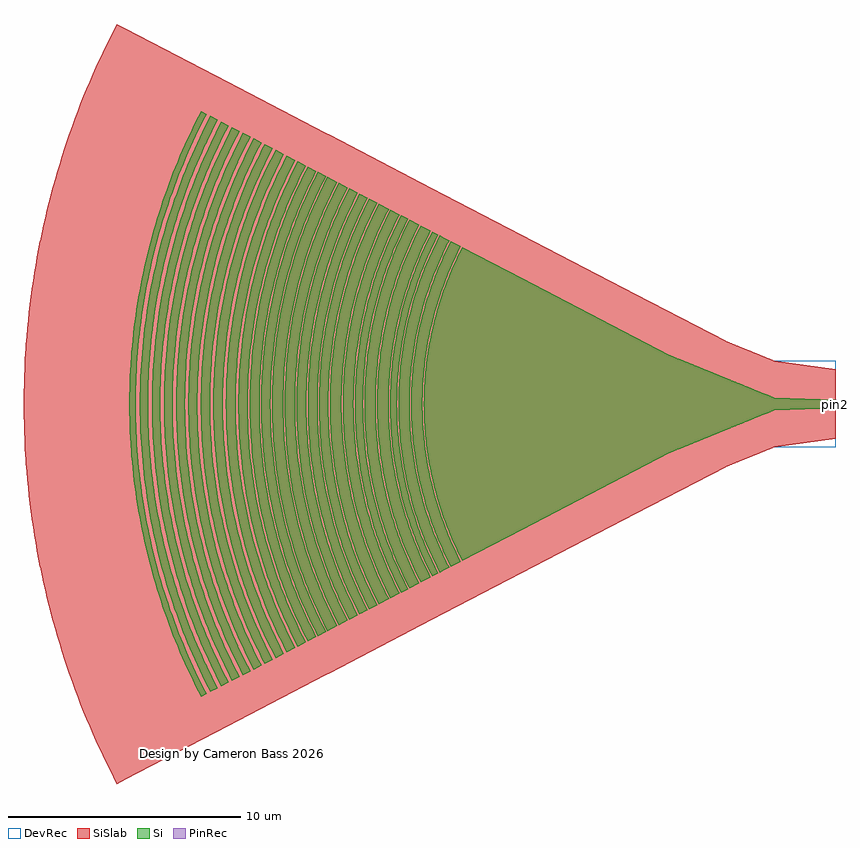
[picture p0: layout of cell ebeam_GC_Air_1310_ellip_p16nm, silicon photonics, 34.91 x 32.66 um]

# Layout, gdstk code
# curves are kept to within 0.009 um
import gdstk
lib = gdstk.Library(unit=1e-6, precision=1e-09)
def P(c, l, *ps):  # polygons
    for p in ps: c.add(gdstk.Polygon(p, *l))
Si = (1, 0)
PinRec = (1, 10)
SiSlab = (2, 0)
DevRec = (68, 0)

ebeam_gc_air_1310_ellip_ = lib.new_cell('ebeam_GC_Air_1310_ellip_p16nm')
P(ebeam_gc_air_1310_ellip_, Si, [(-16.055,-6.738),(-16.425,-5.976),(-16.799,-5.059),(-17.028,-4.389),(-17.294,-3.435),(-17.47,-2.604),(-17.597,-1.765),(-17.675,-0.919),(-17.703,-0.071),(-17.675,0.919),(-17.597,1.765),(-17.47,2.605),(-17.294,3.435),(-17.028,4.389),(-16.799,5.059),(-16.425,5.976),(-16.055,6.738),(-7.086,2.072),(-3.179,0.479),(-2.871,0.365),(-2.673,0.272),(0,0.175),(0,-0.175),(-2.672,-0.272),(-2.84,-0.352),(-3.194,-0.485),(-7.131,-2.091)],
  [(-16.547,-6.993),(-16.928,-6.206),(-17.265,-5.391),(-17.554,-4.558),(-17.795,-3.71),(-17.986,-2.849),(-18.126,-1.978),(-18.225,-0.955),(-18.255,-0.073),(-18.234,0.808),(-18.144,1.833),(-18.013,2.705),(-17.83,3.567),(-17.554,4.558),(-17.265,5.391),(-16.928,6.206),(-16.547,6.994),(-16.115,6.769),(-16.486,6.003),(-16.813,5.215),(-17.05,4.545),(-17.291,3.727),(-17.483,2.896),(-17.646,1.914),(-17.733,1.066),(-17.771,0.071),(-17.751,-0.782),(-17.664,-1.773),(-17.536,-2.616),(-17.359,-3.451),(-17.135,-4.274),(-16.863,-5.082),(-16.486,-6.003),(-16.115,-6.769)],
  [(-17.028,-7.244),(-17.422,-6.43),(-17.771,-5.586),(-18.07,-4.723),(-18.32,-3.844),(-18.517,-2.952),(-18.662,-2.05),(-18.755,-1.141),(-18.782,-0.685),(-18.796,-0.076),(-18.774,0.837),(-18.699,1.748),(-18.642,2.201),(-18.545,2.802),(-18.356,3.696),(-18.07,4.723),(-17.771,5.586),(-17.422,6.43),(-17.028,7.244),(-16.606,7.025),(-16.989,6.233),(-17.328,5.415),(-17.619,4.579),(-17.861,3.727),(-18.079,2.717),(-18.212,1.841),(-18.293,0.959),(-18.323,0.074),(-18.302,-0.811),(-18.212,-1.841),(-18.079,-2.717),(-17.896,-3.583),(-17.663,-4.437),(-17.38,-5.277),(-17.049,-6.099),(-16.867,-6.502),(-16.606,-7.025)],
  [(-17.348,-7.411),(-17.751,-6.578),(-18.108,-5.715),(-18.414,-4.832),(-18.67,-3.933),(-18.872,-3.02),(-18.953,-2.56),(-19.04,-1.943),(-19.126,-1.012),(-19.157,-0.078),(-19.135,0.857),(-19.04,1.943),(-18.9,2.867),(-18.707,3.782),(-18.46,4.683),(-18.163,5.569),(-17.995,6.005),(-17.751,6.579),(-17.348,7.411),(-17.089,7.275),(-17.545,6.318),(-17.94,5.324),(-18.089,4.889),(-18.267,4.304),(-18.386,3.861),(-18.523,3.265),(-18.687,2.362),(-18.783,1.603),(-18.842,0.841),(-18.864,0.077),(-18.849,-0.688),(-18.798,-1.45),(-18.709,-2.211),(-18.554,-3.115),(-18.308,-4.156),(-18.181,-4.597),(-17.991,-5.179),(-17.779,-5.752),(-17.545,-6.318),(-17.089,-7.275)],
  [(-17.844,-7.669),(-18.26,-6.808),(-18.512,-6.215),(-18.686,-5.764),(-18.994,-4.847),(-19.249,-3.914),(-19.449,-2.967),(-19.593,-2.011),(-19.682,-1.047),(-19.715,-0.08),(-19.691,0.887),(-19.612,1.851),(-19.477,2.809),(-19.356,3.442),(-19.249,3.914),(-18.994,4.847),(-18.686,5.764),(-18.512,6.215),(-18.26,6.809),(-17.844,7.669),(-17.408,7.442),(-17.812,6.606),(-18.171,5.739),(-18.48,4.852),(-18.736,3.95),(-18.967,2.879),(-19.107,1.951),(-19.171,1.329),(-19.203,0.86),(-19.225,0.078),(-19.203,-0.86),(-19.171,-1.329),(-19.107,-1.951),(-18.967,-2.879),(-18.736,-3.949),(-18.48,-4.852),(-18.171,-5.739),(-17.812,-6.606),(-17.408,-7.442)],
  [(-18.324,-7.919),(-18.754,-7.03),(-19.014,-6.417),(-19.193,-5.952),(-19.512,-5.005),(-19.775,-4.041),(-19.981,-3.064),(-20.131,-2.076),(-20.222,-1.082),(-20.256,-0.083),(-20.232,0.916),(-20.15,1.911),(-20.038,2.736),(-19.951,3.228),(-19.814,3.88),(-19.512,5.005),(-19.193,5.951),(-19.014,6.417),(-18.754,7.031),(-18.324,7.919),(-17.906,7.701),(-18.118,7.277),(-18.388,6.689),(-18.751,5.787),(-19.061,4.867),(-19.316,3.93),(-19.517,2.979),(-19.662,2.019),(-19.752,1.052),(-19.785,0.081),(-19.761,-0.89),(-19.681,-1.858),(-19.597,-2.501),(-19.517,-2.979),(-19.316,-3.929),(-19.061,-4.866),(-18.751,-5.787),(-18.388,-6.689),(-18.118,-7.277),(-17.906,-7.701)],
  [(-18.686,-8.107),(-19.126,-7.197),(-19.517,-6.252),(-19.852,-5.286),(-20.044,-4.632),(-20.172,-4.137),(-20.383,-3.137),(-20.536,-2.125),(-20.63,-1.107),(-20.664,-0.085),(-20.64,0.937),(-20.556,1.957),(-20.413,2.969),(-20.285,3.638),(-20.172,4.137),(-20.044,4.632),(-19.852,5.286),(-19.517,6.252),(-19.126,7.197),(-18.686,8.107),(-18.384,7.951),(-18.677,7.362),(-18.95,6.752),(-19.139,6.288),(-19.371,5.661),(-19.529,5.184),(-19.717,4.543),(-19.88,3.894),(-19.986,3.405),(-20.131,2.582),(-20.236,1.752),(-20.301,0.919),(-20.325,0.084),(-20.301,-0.919),(-20.236,-1.752),(-20.131,-2.582),(-19.986,-3.405),(-19.88,-3.894),(-19.717,-4.543),(-19.529,-5.184),(-19.371,-5.661),(-18.95,-6.752),(-18.677,-7.362),(-18.384,-7.95)],
  [(-19.144,-8.346),(-19.597,-7.41),(-19.872,-6.763),(-20.061,-6.273),(-20.396,-5.275),(-20.674,-4.259),(-20.891,-3.229),(-21.049,-2.188),(-21.145,-1.14),(-21.181,-0.088),(-21.171,0.615),(-21.145,1.14),(-21.049,2.188),(-20.891,3.229),(-20.674,4.259),(-20.396,5.275),(-20.061,6.273),(-19.668,7.249),(-19.45,7.728),(-19.144,8.346),(-18.747,8.139),(-19.047,7.536),(-19.258,7.069),(-19.641,6.116),(-19.969,5.143),(-20.239,4.153),(-20.451,3.149),(-20.605,2.134),(-20.699,1.112),(-20.734,0.086),(-20.709,-0.941),(-20.625,-1.964),(-20.481,-2.98),(-20.387,-3.485),(-20.239,-4.153),(-19.969,-5.143),(-19.641,-6.116),(-19.258,-7.069),(-19.047,-7.536),(-18.747,-8.139)],
  [(-19.643,-8.606),(-20.108,-7.643),(-20.523,-6.64),(-20.878,-5.614),(-21.175,-4.569),(-21.409,-3.509),(-21.582,-2.437),(-21.692,-1.356),(-21.723,-0.815),(-21.741,-0.09),(-21.715,0.995),(-21.625,2.078),(-21.474,3.153),(-21.338,3.863),(-21.218,4.394),(-20.932,5.441),(-20.708,6.129),(-20.523,6.64),(-20.108,7.643),(-19.643,8.606),(-19.206,8.378),(-19.659,7.437),(-20.064,6.461),(-20.244,5.965),(-20.463,5.295),(-20.699,4.446),(-20.926,3.415),(-21.095,2.372),(-21.173,1.671),(-21.214,1.144),(-21.25,0.088),(-21.245,-0.44),(-21.214,-1.144),(-21.117,-2.196),(-20.959,-3.241),(-20.857,-3.76),(-20.699,-4.446),(-20.41,-5.463),(-20.064,-6.461),(-19.659,-7.437),(-19.206,-8.378)],
  [(-20.058,-8.822),(-20.536,-7.833),(-20.961,-6.805),(-21.326,-5.753),(-21.63,-4.682),(-21.87,-3.596),(-22.047,-2.497),(-22.16,-1.39),(-22.192,-0.835),(-22.21,-0.093),(-22.183,1.02),(-22.092,2.129),(-22.022,2.681),(-21.904,3.414),(-21.674,4.503),(-21.485,5.22),(-21.326,5.753),(-20.961,6.805),(-20.536,7.832),(-20.058,8.822),(-19.707,8.639),(-20.174,7.671),(-20.591,6.664),(-20.949,5.635),(-21.245,4.586),(-21.481,3.522),(-21.603,2.806),(-21.677,2.266),(-21.777,1.18),(-21.814,0.091),(-21.788,-0.999),(-21.751,-1.543),(-21.677,-2.265),(-21.514,-3.343),(-21.288,-4.409),(-21.154,-4.938),(-21.002,-5.461),(-20.655,-6.494),(-20.248,-7.505),(-19.945,-8.165),(-19.707,-8.639)],
  [(-20.478,-9.041),(-20.969,-8.026),(-21.405,-6.972),(-21.778,-5.895),(-22.09,-4.798),(-22.221,-4.243),(-22.371,-3.498),(-22.541,-2.37),(-22.646,-1.235),(-22.685,-0.095),(-22.657,1.045),(-22.563,2.182),(-22.404,3.311),(-22.3,3.871),(-22.135,4.614),(-21.942,5.348),(-21.778,5.895),(-21.405,6.972),(-20.969,8.025),(-20.478,9.041),(-20.12,8.854),(-20.523,8.03),(-20.748,7.52),(-21.026,6.829),(-21.392,5.774),(-21.602,5.06),(-21.741,4.518),(-21.972,3.426),(-22.139,2.322),(-22.241,1.209),(-22.279,0.093),(-22.252,-1.023),(-22.198,-1.766),(-22.139,-2.321),(-21.972,-3.426),(-21.741,-4.518),(-21.447,-5.596),(-21.091,-6.655),(-20.82,-7.348),(-20.599,-7.861),(-20.12,-8.854)],
  [(-20.913,-9.267),(-21.417,-8.224),(-21.863,-7.145),(-22.246,-6.041),(-22.566,-4.917),(-22.7,-4.347),(-22.854,-3.584),(-23.029,-2.429),(-23.136,-1.265),(-23.175,-0.097),(-23.17,0.487),(-23.136,1.265),(-23.029,2.429),(-22.854,3.585),(-22.612,4.728),(-22.304,5.855),(-21.932,6.963),(-21.722,7.507),(-21.417,8.225),(-20.913,9.267),(-20.544,9.074),(-21.036,8.053),(-21.474,6.996),(-21.85,5.915),(-22.162,4.815),(-22.333,4.072),(-22.444,3.51),(-22.615,2.379),(-22.72,1.239),(-22.759,0.096),(-22.748,-0.667),(-22.72,-1.239),(-22.615,-2.378),(-22.444,-3.51),(-22.207,-4.629),(-21.906,-5.733),(-21.541,-6.818),(-21.113,-7.879),(-20.878,-8.4),(-20.544,-9.074)],
  [(-21.364,-9.502),(-21.88,-8.434),(-22.193,-7.698),(-22.408,-7.14),(-22.79,-6.004),(-23.106,-4.848),(-23.354,-3.676),(-23.533,-2.491),(-23.643,-1.297),(-23.672,-0.699),(-23.683,-0.1),(-23.678,0.499),(-23.643,1.298),(-23.533,2.491),(-23.354,3.676),(-23.106,4.848),(-22.956,5.428),(-22.731,6.195),(-22.338,7.327),(-21.88,8.434),(-21.364,9.502),(-20.974,9.298),(-21.479,8.252),(-21.928,7.169),(-22.313,6.061),(-22.481,5.5),(-22.678,4.743),(-22.921,3.596),(-23.097,2.437),(-23.204,1.27),(-23.244,0.098),(-23.239,-0.489),(-23.216,-1.074),(-23.176,-1.66),(-23.097,-2.437),(-22.921,-3.596),(-22.678,-4.743),(-22.481,-5.5),(-22.313,-6.061),(-21.928,-7.168),(-21.479,-8.252),(-20.974,-9.298)],
  [(-21.852,-9.755),(-22.38,-8.661),(-22.624,-8.096),(-22.85,-7.524),(-23.254,-6.362),(-23.59,-5.178),(-23.775,-4.378),(-23.893,-3.775),(-24.077,-2.558),(-24.19,-1.332),(-24.22,-0.718),(-24.231,-0.102),(-24.202,1.128),(-24.101,2.355),(-23.994,3.167),(-23.893,3.775),(-23.775,4.378),(-23.639,4.979),(-23.314,6.166),(-23.127,6.752),(-22.922,7.333),(-22.624,8.096),(-22.38,8.661),(-21.852,9.756),(-21.424,9.533),(-21.689,9.007),(-21.942,8.461),(-22.402,7.351),(-22.608,6.786),(-22.797,6.215),(-23.125,5.059),(-23.384,3.885),(-23.576,2.698),(-23.698,1.502),(-23.733,0.901),(-23.752,0.1),(-23.723,-1.102),(-23.665,-1.901),(-23.601,-2.499),(-23.421,-3.688),(-23.263,-4.473),(-23.125,-5.059),(-22.797,-6.215),(-22.608,-6.786),(-22.402,-7.351),(-21.942,-8.462),(-21.689,-9.007),(-21.424,-9.533)],
  [(-22.266,-9.971),(-22.806,-8.852),(-23.055,-8.274),(-23.287,-7.69),(-23.569,-6.9),(-23.761,-6.302),(-24.093,-5.089),(-24.352,-3.858),(-24.455,-3.237),(-24.54,-2.614),(-24.607,-1.989),(-24.656,-1.362),(-24.686,-0.734),(-24.698,-0.105),(-24.668,1.153),(-24.565,2.406),(-24.486,3.03),(-24.389,3.652),(-24.274,4.27),(-24.093,5.089),(-23.761,6.302),(-23.569,6.901),(-23.287,7.69),(-23.055,8.275),(-22.806,8.852),(-22.266,9.971),(-21.913,9.787),(-22.271,9.063),(-22.525,8.502),(-22.84,7.741),(-23.057,7.163),(-23.257,6.579),(-23.496,5.792),(-23.656,5.195),(-23.841,4.393),(-23.96,3.787),(-24.061,3.178),(-24.19,2.157),(-24.27,1.131),(-24.3,0.103),(-24.28,-0.925),(-24.21,-1.953),(-24.091,-2.975),(-23.882,-4.191),(-23.752,-4.794),(-23.551,-5.593),(-23.38,-6.185),(-23.125,-6.969),(-22.84,-7.74),(-22.607,-8.312),(-22.271,-9.063),(-21.913,-9.787)],
  [(-22.7,-10.197),(-23.254,-9.051),(-23.509,-8.46),(-23.746,-7.863),(-24.167,-6.648),(-24.409,-5.825),(-24.57,-5.203),(-24.712,-4.575),(-24.835,-3.945),(-24.941,-3.31),(-25.028,-2.673),(-25.096,-2.034),(-25.146,-1.392),(-25.177,-0.751),(-25.189,-0.107),(-25.183,0.536),(-25.158,1.179),(-25.115,1.82),(-25.053,2.46),(-24.972,3.098),(-24.873,3.734),(-24.712,4.575),(-24.57,5.203),(-24.409,5.825),(-24.23,6.444),(-23.821,7.663),(-23.59,8.262),(-23.341,8.855),(-22.982,9.634),(-22.7,10.197),(-22.33,10.004),(-22.697,9.263),(-22.957,8.689),(-23.279,7.911),(-23.5,7.321),(-23.769,6.523),(-23.949,5.919),(-24.113,5.309),(-24.302,4.49),(-24.494,3.456),(-24.637,2.414),(-24.728,1.366),(-24.759,0.736),(-24.771,0.105),(-24.751,-0.946),(-24.714,-1.576),(-24.659,-2.204),(-24.527,-3.247),(-24.344,-4.284),(-24.211,-4.9),(-24.006,-5.716),(-23.769,-6.523),(-23.5,-7.321),(-23.279,-7.911),(-22.957,-8.689),(-22.697,-9.263),(-22.33,-10.004)],
  [(-23.132,-10.422),(-23.701,-9.246),(-23.961,-8.642),(-24.204,-8.032),(-24.635,-6.791),(-24.994,-5.527),(-25.145,-4.889),(-25.278,-4.245),(-25.392,-3.598),(-25.487,-2.948),(-25.563,-2.296),(-25.635,-1.422),(-25.667,-0.767),(-25.679,-0.109),(-25.673,0.547),(-25.648,1.204),(-25.603,1.859),(-25.54,2.513),(-25.457,3.165),(-25.318,4.03),(-25.191,4.674),(-25.046,5.315),(-24.699,6.582),(-24.499,7.208),(-24.281,7.828),(-24.044,8.44),(-23.701,9.246),(-23.132,10.422),(-22.778,10.238),(-23.155,9.475),(-23.507,8.691),(-23.751,8.093),(-23.977,7.489),(-24.252,6.673),(-24.437,6.055),(-24.604,5.431),(-24.798,4.593),(-24.995,3.535),(-25.088,2.897),(-25.163,2.255),(-25.246,1.183),(-25.278,0.108),(-25.257,-0.968),(-25.219,-1.612),(-25.163,-2.255),(-25.088,-2.896),(-24.995,-3.535),(-24.798,-4.593),(-24.604,-5.431),(-24.437,-6.055),(-24.252,-6.673),(-23.977,-7.489),(-23.751,-8.093),(-23.421,-8.888),(-23.155,-9.475),(-22.778,-10.237)],
  [(-23.601,-10.667),(-24.187,-9.458),(-24.453,-8.84),(-24.701,-8.216),(-24.931,-7.584),(-25.142,-6.947),(-25.335,-6.302),(-25.51,-5.654),(-25.665,-4.999),(-25.841,-4.122),(-25.952,-3.458),(-26.043,-2.793),(-26.114,-2.125),(-26.166,-1.455),(-26.199,-0.784),(-26.212,-0.112),(-26.205,0.56),(-26.179,1.232),(-26.134,1.902),(-26.069,2.571),(-25.984,3.237),(-25.88,3.902),(-25.712,4.781),(-25.563,5.437),(-25.395,6.087),(-25.208,6.733),(-25.003,7.373),(-24.78,8.007),(-24.538,8.633),(-24.278,9.252),(-23.999,9.865),(-23.601,10.667),(-23.236,10.476),(-23.625,9.691),(-23.897,9.091),(-24.153,8.482),(-24.466,7.66),(-24.68,7.035),(-24.937,6.193),(-25.108,5.555),(-25.306,4.698),(-25.508,3.615),(-25.657,2.525),(-25.72,1.869),(-25.765,1.21),(-25.797,0.11),(-25.776,-0.99),(-25.738,-1.649),(-25.68,-2.306),(-25.542,-3.399),(-25.306,-4.698),(-25.16,-5.341),(-24.937,-6.193),(-24.68,-7.034),(-24.466,-7.659),(-24.153,-8.482),(-23.897,-9.091),(-23.625,-9.691),(-23.236,-10.476)],
  [(-24.084,-10.918),(-24.395,-10.298),(-24.686,-9.675),(-24.959,-9.043),(-25.213,-8.405),(-25.448,-7.759),(-25.732,-6.888),(-25.923,-6.227),(-26.095,-5.562),(-26.247,-4.891),(-26.38,-4.217),(-26.493,-3.538),(-26.586,-2.857),(-26.659,-2.174),(-26.712,-1.488),(-26.746,-0.802),(-26.759,-0.114),(-26.752,0.573),(-26.726,1.26),(-26.679,1.945),(-26.586,2.858),(-26.493,3.538),(-26.38,4.217),(-26.247,4.891),(-26.095,5.562),(-25.923,6.227),(-25.732,6.888),(-25.448,7.759),(-25.213,8.405),(-24.959,9.044),(-24.686,9.675),(-24.395,10.298),(-24.084,10.918),(-23.723,10.73),(-24.028,10.124),(-24.404,9.306),(-24.75,8.473),(-24.987,7.841),(-25.275,6.986),(-25.469,6.339),(-25.698,5.467),(-25.847,4.809),(-26.054,3.701),(-26.207,2.585),(-26.305,1.463),(-26.338,0.788),(-26.351,0.113),(-26.329,-1.013),(-26.289,-1.688),(-26.231,-2.361),(-26.089,-3.479),(-25.893,-4.588),(-25.75,-5.248),(-25.53,-6.122),(-25.275,-6.986),(-24.987,-7.841),(-24.75,-8.473),(-24.404,-9.306),(-24.028,-10.124),(-23.723,-10.73)],
  [(-24.554,-11.163),(-24.874,-10.526),(-25.172,-9.889),(-25.451,-9.243),(-25.71,-8.591),(-25.951,-7.93),(-26.172,-7.264),(-26.436,-6.365),(-26.613,-5.685),(-26.768,-4.999),(-26.904,-4.31),(-27.019,-3.616),(-27.114,-2.921),(-27.189,-2.222),(-27.244,-1.521),(-27.278,-0.82),(-27.291,-0.117),(-27.278,0.82),(-27.244,1.522),(-27.189,2.222),(-27.114,2.921),(-27.019,3.616),(-26.904,4.31),(-26.768,4.999),(-26.613,5.685),(-26.436,6.365),(-26.172,7.264),(-25.951,7.93),(-25.71,8.591),(-25.451,9.244),(-25.172,9.888),(-24.874,10.526),(-24.554,11.163),(-24.204,10.981),(-24.619,10.148),(-24.905,9.518),(-25.173,8.881),(-25.501,8.02),(-25.796,7.146),(-25.994,6.485),(-26.174,5.816),(-26.381,4.919),(-26.593,3.786),(-26.749,2.644),(-26.85,1.497),(-26.883,0.806),(-26.896,0.115),(-26.874,-1.036),(-26.796,-2.185),(-26.662,-3.331),(-26.555,-4.013),(-26.428,-4.693),(-26.228,-5.592),(-26.056,-6.262),(-25.796,-7.146),(-25.578,-7.803),(-25.258,-8.667),(-24.905,-9.518),(-24.619,-10.148),(-24.204,-10.981)],
  [(-25.027,-11.409),(-25.355,-10.756),(-25.66,-10.106),(-25.944,-9.446),(-26.21,-8.779),(-26.455,-8.104),(-26.681,-7.423),(-26.888,-6.734),(-27.075,-6.041),(-27.24,-5.343),(-27.386,-4.639),(-27.51,-3.933),(-27.615,-3.222),(-27.698,-2.509),(-27.761,-1.793),(-27.812,-0.838),(-27.826,-0.12),(-27.819,0.598),(-27.791,1.316),(-27.742,2.032),(-27.673,2.747),(-27.582,3.459),(-27.43,4.404),(-27.291,5.109),(-27.132,5.809),(-26.952,6.504),(-26.752,7.195),(-26.533,7.878),(-26.21,8.779),(-25.944,9.446),(-25.66,10.106),(-25.355,10.756),(-25.027,11.409),(-24.684,11.231),(-25.008,10.589),(-25.402,9.733),(-25.676,9.081),(-26.012,8.201),(-26.241,7.532),(-26.516,6.631),(-26.7,5.947),(-26.912,5.03),(-27.128,3.871),(-27.288,2.704),(-27.357,2.001),(-27.405,1.295),(-27.439,0.118),(-27.432,-0.589),(-27.405,-1.295),(-27.313,-2.469),(-27.165,-3.638),(-27.049,-4.336),(-26.912,-5.03),(-26.7,-5.947),(-26.516,-6.63),(-26.241,-7.532),(-26.012,-8.2),(-25.676,-9.081),(-25.402,-9.733),(-25.008,-10.589),(-24.684,-11.23)],
  [(-25.489,-11.649),(-25.824,-10.982),(-26.135,-10.318),(-26.425,-9.644),(-26.696,-8.963),(-26.947,-8.274),(-27.178,-7.579),(-27.389,-6.876),(-27.58,-6.168),(-27.801,-5.216),(-27.942,-4.497),(-28.063,-3.773),(-28.162,-3.047),(-28.24,-2.318),(-28.297,-1.587),(-28.332,-0.856),(-28.347,-0.122),(-28.332,0.855),(-28.297,1.587),(-28.24,2.318),(-28.162,3.047),(-28.063,3.773),(-27.942,4.497),(-27.801,5.216),(-27.638,5.931),(-27.454,6.641),(-27.251,7.345),(-27.027,8.043),(-26.696,8.964),(-26.425,9.644),(-26.135,10.317),(-25.824,10.982),(-25.489,11.649),(-25.158,11.477),(-25.594,10.603),(-25.892,9.945),(-26.262,9.056),(-26.516,8.38),(-26.824,7.467),(-27.031,6.776),(-27.219,6.077),(-27.436,5.14),(-27.657,3.956),(-27.762,3.241),(-27.846,2.524),(-27.939,1.324),(-27.974,0.121),(-27.951,-1.083),(-27.909,-1.804),(-27.846,-2.523),(-27.762,-3.241),(-27.657,-3.955),(-27.436,-5.139),(-27.276,-5.843),(-27.031,-6.775),(-26.824,-7.467),(-26.516,-8.379),(-26.262,-9.056),(-25.892,-9.946),(-25.594,-10.603),(-25.158,-11.477)],
  [(-25.954,-11.891),(-26.296,-11.21),(-26.614,-10.532),(-26.91,-9.845),(-27.187,-9.15),(-27.443,-8.446),(-27.679,-7.736),(-27.894,-7.019),(-28.089,-6.296),(-28.261,-5.569),(-28.459,-4.59),(-28.581,-3.851),(-28.683,-3.11),(-28.763,-2.366),(-28.821,-1.62),(-28.857,-0.873),(-28.871,-0.125),(-28.857,0.873),(-28.821,1.62),(-28.763,2.366),(-28.683,3.111),(-28.581,3.852),(-28.459,4.59),(-28.314,5.324),(-28.148,6.054),(-27.961,6.779),(-27.753,7.498),(-27.524,8.21),(-27.275,8.916),(-27.005,9.614),(-26.614,10.532),(-26.296,11.21),(-25.954,11.892),(-25.628,11.722),(-25.967,11.051),(-26.378,10.158),(-26.664,9.477),(-27.015,8.558),(-27.254,7.86),(-27.542,6.92),(-27.733,6.207),(-27.955,5.249),(-28.18,4.04),(-28.347,2.822),(-28.419,2.088),(-28.469,1.352),(-28.505,0.123),(-28.497,-0.615),(-28.469,-1.352),(-28.373,-2.577),(-28.287,-3.31),(-28.18,-4.04),(-27.955,-5.249),(-27.733,-6.206),(-27.542,-6.919),(-27.254,-7.86),(-27.015,-8.558),(-26.664,-9.477),(-26.378,-10.157),(-25.967,-11.05),(-25.628,-11.722)],
  [(-26.413,-12.13),(-26.762,-11.435),(-27.086,-10.744),(-27.485,-9.807),(-27.76,-9.095),(-28.014,-8.375),(-28.248,-7.648),(-28.46,-6.915),(-28.651,-6.176),(-28.82,-5.431),(-28.968,-4.682),(-29.093,-3.929),(-29.196,-3.173),(-29.278,-2.413),(-29.337,-1.653),(-29.374,-0.891),(-29.389,-0.127),(-29.381,0.636),(-29.352,1.399),(-29.3,2.16),(-29.226,2.921),(-29.13,3.677),(-28.968,4.682),(-28.82,5.431),(-28.651,6.176),(-28.46,6.915),(-28.248,7.649),(-28.014,8.375),(-27.76,9.095),(-27.485,9.807),(-27.086,10.744),(-26.762,11.435),(-26.413,12.13),(-26.097,11.966),(-26.552,11.054),(-26.863,10.369),(-27.248,9.441),(-27.513,8.737),(-27.757,8.024),(-28.051,7.064),(-28.246,6.336),(-28.419,5.603),(-28.572,4.866),(-28.703,4.124),(-28.873,2.881),(-28.983,1.631),(-29.019,0.878),(-29.034,0.126),(-29.026,-0.628),(-28.997,-1.38),(-28.9,-2.631),(-28.742,-3.876),(-28.618,-4.619),(-28.472,-5.358),(-28.246,-6.336),(-28.051,-7.063),(-27.834,-7.784),(-27.513,-8.736),(-27.248,-9.441),(-26.863,-10.369),(-26.552,-11.054),(-26.097,-11.966)],
  [(-26.883,-12.375),(-27.231,-11.68),(-27.562,-10.974),(-27.871,-10.258),(-28.25,-9.29),(-28.509,-8.555),(-28.747,-7.813),(-28.963,-7.063),(-29.159,-6.308),(-29.331,-5.547),(-29.481,-4.783),(-29.609,-4.013),(-29.715,-3.241),(-29.797,-2.466),(-29.858,-1.688),(-29.896,-0.91),(-29.911,-0.13),(-29.896,0.91),(-29.858,1.688),(-29.797,2.465),(-29.715,3.241),(-29.609,4.013),(-29.481,4.783),(-29.331,5.548),(-29.159,6.308),(-28.963,7.063),(-28.747,7.813),(-28.509,8.555),(-28.25,9.291),(-27.871,10.258),(-27.562,10.974),(-27.231,11.681),(-26.883,12.376),(-26.564,12.21),(-27.028,11.279),(-27.346,10.58),(-27.739,9.633),(-28.009,8.914),(-28.337,7.943),(-28.557,7.207),(-28.757,6.465),(-28.988,5.467),(-29.223,4.208),(-29.397,2.939),(-29.471,2.175),(-29.523,1.408),(-29.561,0.128),(-29.536,-1.152),(-29.491,-1.919),(-29.424,-2.684),(-29.263,-3.955),(-29.136,-4.713),(-28.988,-5.467),(-28.757,-6.464),(-28.557,-7.207),(-28.337,-7.943),(-28.009,-8.914),(-27.739,-9.633),(-27.346,-10.58),(-27.028,-11.279),(-26.564,-12.209)],
  [(-27.281,-12.583),(-27.643,-11.86),(-27.979,-11.143),(-28.292,-10.416),(-28.584,-9.68),(-28.841,-8.977),(-29.104,-8.185),(-29.331,-7.426),(-29.537,-6.662),(-29.719,-5.892),(-29.879,-5.116),(-30.017,-4.336),(-30.132,-3.553),(-30.249,-2.503),(-30.305,-1.795),(-30.349,-0.924),(-30.364,-0.132),(-30.356,0.659),(-30.326,1.451),(-30.272,2.241),(-30.165,3.291),(-30.058,4.075),(-29.928,4.857),(-29.775,5.633),(-29.6,6.406),(-29.402,7.172),(-29.182,7.933),(-28.941,8.687),(-28.677,9.434),(-28.392,10.172),(-27.979,11.144),(-27.643,11.861),(-27.281,12.583),(-27.043,12.459),(-27.508,11.523),(-27.832,10.809),(-28.233,9.842),(-28.509,9.107),(-28.843,8.115),(-29.069,7.363),(-29.272,6.605),(-29.452,5.841),(-29.611,5.072),(-29.747,4.299),(-29.924,3.003),(-30.039,1.7),(-30.077,0.915),(-30.092,0.131),(-30.067,-1.177),(-30.021,-1.961),(-29.952,-2.742),(-29.861,-3.522),(-29.747,-4.299),(-29.611,-5.072),(-29.452,-5.84),(-29.271,-6.605),(-29.069,-7.363),(-28.843,-8.115),(-28.509,-9.107),(-28.233,-9.842),(-27.832,-10.809),(-27.508,-11.523),(-27.043,-12.459)])
P(ebeam_gc_air_1310_ellip_, SiSlab, [(-30.904,-16.329),(-31.366,-15.41),(-31.801,-14.477),(-32.208,-13.533),(-32.588,-12.577),(-32.94,-11.61),(-33.264,-10.634),(-33.559,-9.648),(-33.825,-8.655),(-34.062,-7.654),(-34.27,-6.647),(-34.449,-5.634),(-34.598,-4.616),(-34.717,-3.594),(-34.807,-2.569),(-34.867,-1.543),(-34.9,-0.171),(-34.89,0.857),(-34.85,1.885),(-34.781,2.912),(-34.681,3.935),(-34.552,4.956),(-34.393,5.972),(-34.135,7.319),(-33.907,8.322),(-33.651,9.318),(-33.365,10.307),(-33.051,11.286),(-32.709,12.256),(-32.338,13.216),(-31.94,14.164),(-31.366,15.41),(-30.904,16.329),(-4.744,2.708),(-2.65,1.855),(0,1.5),(0,-1.5),(-2.65,-1.855),(-4.728,-2.7)])
P(ebeam_gc_air_1310_ellip_, DevRec, [(-30.904,-16.329),(-31.366,-15.41),(-31.801,-14.477),(-32.208,-13.533),(-32.588,-12.577),(-32.94,-11.61),(-33.264,-10.634),(-33.559,-9.648),(-33.825,-8.655),(-34.062,-7.654),(-34.27,-6.647),(-34.449,-5.634),(-34.598,-4.616),(-34.717,-3.594),(-34.807,-2.569),(-34.867,-1.543),(-34.9,-0.171),(-34.89,0.857),(-34.85,1.885),(-34.781,2.912),(-34.681,3.935),(-34.552,4.956),(-34.393,5.972),(-34.135,7.319),(-33.907,8.322),(-33.651,9.318),(-33.365,10.307),(-33.051,11.286),(-32.709,12.256),(-32.338,13.216),(-31.94,14.164),(-31.366,15.41),(-30.904,16.329),(-4.744,2.708),(-2.65,1.855),(0,1.855),(0,-1.855),(-2.65,-1.855),(-4.728,-2.7)])
ebeam_gc_air_1310_ellip_.add(gdstk.FlexPath([(-0.01,0),(0.01,0)], 0.35, ends="flush", simple_path=True, layer=1, datatype=10))  # PinRec
ebeam_gc_air_1310_ellip_.add(gdstk.Label('pin2', (0,0), layer=1, texttype=10))
ebeam_gc_air_1310_ellip_.add(gdstk.Label('Design by Cameron Bass 2026', (-25.94,-15.02), layer=10, texttype=0))

lib.write_gds('ebeam_GC_Air_1310_ellip_p16nm.gds')
